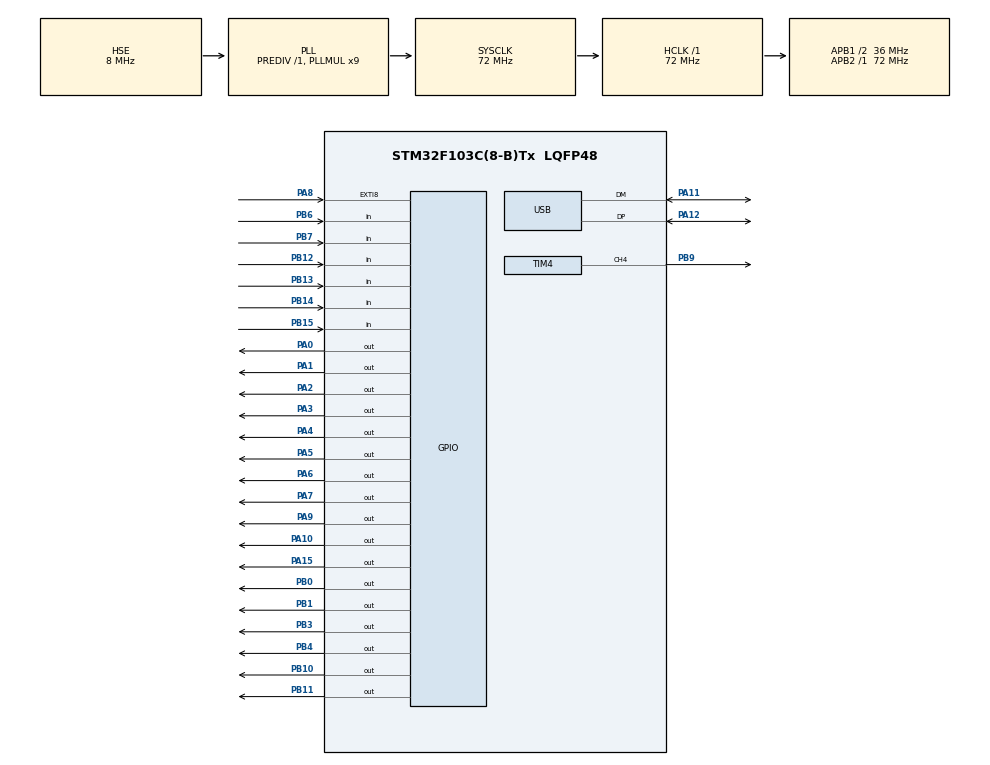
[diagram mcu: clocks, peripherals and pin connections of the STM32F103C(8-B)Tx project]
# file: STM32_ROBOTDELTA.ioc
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Mcu.Family=STM32F1
Mcu.Name=STM32F103C(8-B)Tx
Mcu.Package=LQFP48
NVIC.EXTI9_5_IRQn=true\:2\:0\:true\:false\:true\:true\:true\:true
NVIC.PriorityGroup=NVIC_PRIORITYGROUP_4
NVIC.TIM2_IRQn=true\:3\:0\:true\:false\:true\:true\:true\:true
NVIC.TIM3_IRQn=true\:4\:0\:true\:false\:true\:true\:true\:true
NVIC.USB_LP_CAN1_RX0_IRQn=true\:5\:0\:true\:false\:true\:false\:true\:true
PA0-WKUP.Signal=GPIO_Output
PA1.Signal=GPIO_Output
PA10.PinState=GPIO_PIN_SET
PA10.Signal=GPIO_Output
PA11.Mode=Device
PA11.Signal=USB_DM
PA12.Mode=Device
PA12.Signal=USB_DP
PA13.Mode=Serial_Wire
PA13.Signal=SYS_JTMS-SWDIO
PA14.Mode=Serial_Wire
PA14.Signal=SYS_JTCK-SWCLK
PA15.PinState=GPIO_PIN_SET
PA15.Signal=GPIO_Output
PA2.PinState=GPIO_PIN_SET
PA2.Signal=GPIO_Output
PA3.Signal=GPIO_Output
PA4.PinState=GPIO_PIN_SET
PA4.Signal=GPIO_Output
PA5.Signal=GPIO_Output
PA6.PinState=GPIO_PIN_SET
PA6.Signal=GPIO_Output
PA7.Signal=GPIO_Output
PA8.GPIO_PuPd=GPIO_PULLUP
PA8.Signal=GPXTI8
PA9.PinState=GPIO_PIN_SET
PA9.Signal=GPIO_Output
PB0.Signal=GPIO_Output
PB1.Signal=GPIO_Output
PB10.Signal=GPIO_Output
PB11.PinState=GPIO_PIN_SET
PB11.Signal=GPIO_Output
PB12.GPIO_PuPd=GPIO_PULLUP
PB12.Signal=GPIO_Input
PB13.GPIO_PuPd=GPIO_PULLUP
PB13.Signal=GPIO_Input
PB14.GPIO_PuPd=GPIO_PULLUP
PB14.Signal=GPIO_Input
PB15.GPIO_PuPd=GPIO_PULLDOWN
PB15.Signal=GPIO_Input
PB3.PinState=GPIO_PIN_SET
PB3.Signal=GPIO_Output
PB4.PinState=GPIO_PIN_SET
PB4.Signal=GPIO_Output
PB6.GPIO_PuPd=GPIO_PULLDOWN
PB6.Signal=GPIO_Input
PB7.GPIO_PuPd=GPIO_PULLDOWN
PB7.Signal=GPIO_Input
PB9.Signal=S_TIM4_CH4
PD0-OSC_IN.Mode=HSE-External-Oscillator
PD0-OSC_IN.Signal=RCC_OSC_IN
PD1-OSC_OUT.Mode=HSE-External-Oscillator
PD1-OSC_OUT.Signal=RCC_OSC_OUT
ProjectManager.HeapSize=0x200
ProjectManager.StackSize=0x400
ProjectManager.TargetToolchain=CMake
RCC.AHBFreq_Value=72000000
RCC.APB1CLKDivider=RCC_HCLK_DIV2
RCC.APB1Freq_Value=36000000
RCC.APB1TimFreq_Value=72000000
RCC.APB2Freq_Value=72000000
RCC.APB2TimFreq_Value=72000000
RCC.HCLKFreq_Value=72000000
RCC.PLLMUL=RCC_PLL_MUL9
RCC.PLLSourceVirtual=RCC_PLLSOURCE_HSE
RCC.SYSCLKFreq_VALUE=72000000
RCC.SYSCLKSource=RCC_SYSCLKSOURCE_PLLCLK
RCC.USBFreq_Value=48000000
RCC.USBPrescaler=RCC_USBCLKSOURCE_PLL_DIV1_5
SH.S_TIM4_CH4.0=TIM4_CH4,PWM Generation4 CH4
TIM2.Period=99
TIM2.Prescaler=71
TIM3.Period=99
TIM3.Prescaler=71
TIM4.Channel-PWM\ Generation4\ CH4=TIM_CHANNEL_4
TIM4.Period=19999
TIM4.Prescaler=71
TIM4.Pulse-PWM\ Generation4\ CH4=1500
USB_DEVICE.CLASS_NAME_FS=CDC
USB_DEVICE.VirtualMode=Cdc
USB_DEVICE.VirtualModeFS=Cdc_FS
VP_TIM2_VS_ClockSourceINT.Mode=Internal
VP_TIM3_VS_ClockSourceINT.Mode=Internal
VP_TIM4_VS_ClockSourceINT.Mode=Internal
VP_USB_DEVICE_VS_USB_DEVICE_CDC_FS.Mode=CDC_FS
board=custom

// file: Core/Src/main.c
/* USER CODE BEGIN Header */
/**
  ******************************************************************************
  * @file           : main.c
  * @brief          : Main program body
  ******************************************************************************
  * @attention
  *
  * Copyright (c) 2025 STMicroelectronics.
  * All rights reserved.
  *
  * This software is licensed under terms that can be found in the LICENSE file
  * in the root directory of this software component.
  * If no LICENSE file comes with this software, it is provided AS-IS.
  *
  ******************************************************************************
  */
/* USER CODE END Header */
#include "main.h"
#include "usb_device.h"

/* USER CODE BEGIN Includes */
#include "cdc_handler.h"
#include "command_queue.h"
#include "robot_control.h"
#include "conveyor.h"
#include "status_led.h"
#include "command_parser.h"
#include "button_handler.h"
#include "stm32f1xx_hal.h"
#include <stdbool.h>
#include <stdint.h>
/* USER CODE END Includes */

TIM_HandleTypeDef htim2;
TIM_HandleTypeDef htim3;
TIM_HandleTypeDef htim4;

void SystemClock_Config(void);
static void MX_GPIO_Init(void);
static void MX_TIM2_Init(void);
static void MX_TIM3_Init(void);
static void MX_TIM4_Init(void);

/* USER CODE BEGIN 0 */
static char main_command_buffer[RX_BUFFER_SIZE]; // NOLINT
/* USER CODE END 0 */

int main(void)
{

  /* MCU Configuration--------------------------------------------------------*/

  /* Reset of all peripherals, Initializes the Flash interface and the Systick. */
  HAL_Init();

  /* Configure the system clock */
  SystemClock_Config();

  /* Initialize all configured peripherals */
  MX_GPIO_Init();
  MX_TIM2_Init();
  MX_TIM3_Init();
  MX_TIM4_Init();
  MX_USB_DEVICE_Init();
  /* USER CODE BEGIN 2 */
  // Khởi tạo tất cả các module phần mềm
  status_led_init();
  cdc_handler_init();
  queue_init();
  robot_init();
  conveyor_init();
  button_handler_init();  // Khởi tạo module xử lý nút bấm và debounce

  // Đợi một chút để USB CDC ổn định
  HAL_Delay(100);

  // Gửi thông báo hệ thống đã sẵn sàng
  cdc_handler_send_response("SYS_READY");
  /* USER CODE END 2 */

  /* Infinite loop */
  while (1)
  {

    /* USER CODE BEGIN 3 */
	// Xử lý lệnh từ USB (NON-BLOCKING)
    // Kiểm tra xem cdc_handler có lệnh mới không
    if (cdc_handler_get_command(main_command_buffer, RX_BUFFER_SIZE))
    {
        // Nếu có, thực thi lệnh trong main loop (an toàn!)
        parse_command(main_command_buffer);
    }

    // Xử lý hàng đợi lệnh: kiểm tra và gửi lệnh cho robot nếu rảnh
    queue_process();

    // Xử lý các thông báo DONE từ hàng đợi (do ISR đẩy vào)
    queue_handle_done_messages();

    // Cập nhật trạng thái nút bấm và E-Stop (có debounce)
    button_handler_update();

    // Nếu E-Stop vừa thay đổi (được phát hiện bên trong button_handler_update),
    // ta nên gửi status ngay. Tuy nhiên button_handler_update gọi callback robot_estop_triggered.
    // Để đơn giản, ta kiểm tra cạnh ở đây.
    static bool last_estop_val = false;
    bool current_estop_val = estop_is_triggered();
    if (current_estop_val != last_estop_val) {
        last_estop_val = current_estop_val;
        send_status_report(); // Gửi status ngay khi E-Stop đổi trạng thái
    }

    // --- Xử lý sự kiện nút bấm ---
    if (button_just_pressed(BUTTON_1) || button_just_pressed(BUTTON_2)) {
        send_status_report(); // Gửi trạng thái đầy đủ ngay khi nhấn nút
    }

    // --- Giám sát cảm biến khay (Tray Sensor) ---
    static int last_tray_state = -1;
    // [FIX] Cảm biến khay dùng PULLDOWN: Có khay = VCC (SET) = 1, Mất khay = GND (RESET) = 0
    int current_tray_state = (HAL_GPIO_ReadPin(GPIOB, GPIO_PIN_15) == GPIO_PIN_SET) ? 1 : 0;

    if (last_tray_state == -1) {
        last_tray_state = current_tray_state;
    }
    else if (current_tray_state != last_tray_state) {
        HAL_Delay(20);
        int confirm_state = (HAL_GPIO_ReadPin(GPIOB, GPIO_PIN_15) == GPIO_PIN_RESET) ? 1 : 0;
        if (confirm_state == current_tray_state) {
            last_tray_state = current_tray_state;
            send_status_report(); // Gửi trạng thái đầy đủ khi cảm biến khay thay đổi
        }
    }

    // Cập nhật trạng thái homing (gọi mỗi vòng lặp)
    robot_update_homing_state();

    // ✅ Kiểm tra Servo Idle để ngắt xung (Auto-Detach)
    robot_poll_servo_idle();

    // ✅ Clear flags để tránh memory leak (không log nhưng vẫn clear)
    for (int i = 0; i < 3; i++) {
        robot_get_and_clear_flag_homing_ls_trig(i);
    }

    // ✅ Tự động cập nhật LED status dựa trên trạng thái robot & E-STOP
    robot_update_status_leds();

    // Cập nhật LED trạng thái (gọi mỗi vòng lặp để nhấp nháy được smooth)
    status_led_update();

    // --- Xử lý Homing Watchdog và các cờ báo hiệu từ ISR ---

    // Watchdog cho Homing (chỉ kiểm tra khi đang homing)
    if (robot_get_state() == ROBOT_STATE_HOMING && robot_get_homing_state() == HOMING_STATE_RAISING)
    {
        if ((HAL_GetTick() - robot_get_homing_start_tick()) > HOMING_WATCHDOG_MS)
        {
            robot_abort(); // Dừng robot
            cdc_handler_send_response("ERROR:Homing timed out");
        }
    }

    // Các cờ khác
    if (robot_get_and_clear_flag_homing_timeout_backing_off()) cdc_handler_send_response("ERROR:HOMING_TIMEOUT_BACKING_OFF");
    if (robot_get_and_clear_flag_homing_done()) cdc_handler_send_response("HOME_DONE");

    int misconfig_motor;
    if (robot_get_and_clear_flag_homing_dir_misconfig(&misconfig_motor)) {
        cdc_handler_send_response("ERROR:HOMING_DIR_MISCONFIG on motor %d", misconfig_motor);
    }

    // 🚨 SAFETY: Kiểm tra limit switch bị kẹt/hỏng
    for (int i = 0; i < 3; i++) {
        if (robot_get_and_clear_flag_ls_stuck(i)) {
            cdc_handler_send_response("ERROR:LIMIT_SWITCH_STUCK:M%d (backoff >2000 steps, sensor may be broken)", i + 1);
            robot_abort(); // Dừng khẩn cấp
        }
    }

        for (int i = 0; i < 3; i++) {

            if (robot_get_and_clear_flag_up_blocked(i)) {

                // 🚨 XỬ LÝ SỰ CỐ: Chạm công tắc hành trình bất ngờ

                cdc_handler_send_response("ERROR:CRITICAL:Motor %d hit limit switch during move! (Lost steps/Position mismatch)", i + 1);

                // Dừng robot và reset trạng thái

                robot_abort();

                // Xóa hàng đợi lệnh (vì các lệnh tiếp theo sẽ sai tọa độ)

                queue_flush();

                // Báo cho PC biết cần phải Homing lại

                cdc_handler_send_response("ERROR:REQUIRE_HOMING");

            }

        }
  }
  /* USER CODE END 3 */
}

void SystemClock_Config(void)
{
  RCC_OscInitTypeDef RCC_OscInitStruct = {0};
  RCC_ClkInitTypeDef RCC_ClkInitStruct = {0};
  RCC_PeriphCLKInitTypeDef PeriphClkInit = {0};

  /** Initializes the RCC Oscillators according to the specified parameters
  * in the RCC_OscInitTypeDef structure.
  */
  RCC_OscInitStruct.OscillatorType = RCC_OSCILLATORTYPE_HSE;
  RCC_OscInitStruct.HSEState = RCC_HSE_ON;
  RCC_OscInitStruct.HSEPredivValue = RCC_HSE_PREDIV_DIV1;
  RCC_OscInitStruct.HSIState = RCC_HSI_ON;
  RCC_OscInitStruct.PLL.PLLState = RCC_PLL_ON;
  RCC_OscInitStruct.PLL.PLLSource = RCC_PLLSOURCE_HSE;
  RCC_OscInitStruct.PLL.PLLMUL = RCC_PLL_MUL9;
  if (HAL_RCC_OscConfig(&RCC_OscInitStruct) != HAL_OK)
  {
    Error_Handler();
  }

  /** Initializes the CPU, AHB and APB buses clocks
  */
  RCC_ClkInitStruct.ClockType = RCC_CLOCKTYPE_HCLK|RCC_CLOCKTYPE_SYSCLK
                              |RCC_CLOCKTYPE_PCLK1|RCC_CLOCKTYPE_PCLK2;
  RCC_ClkInitStruct.SYSCLKSource = RCC_SYSCLKSOURCE_PLLCLK;
  RCC_ClkInitStruct.AHBCLKDivider = RCC_SYSCLK_DIV1;
  RCC_ClkInitStruct.APB1CLKDivider = RCC_HCLK_DIV2;
  RCC_ClkInitStruct.APB2CLKDivider = RCC_HCLK_DIV1;

  if (HAL_RCC_ClockConfig(&RCC_ClkInitStruct, FLASH_LATENCY_2) != HAL_OK)
  {
    Error_Handler();
  }
  PeriphClkInit.PeriphClockSelection = RCC_PERIPHCLK_USB;
  PeriphClkInit.UsbClockSelection = RCC_USBCLKSOURCE_PLL_DIV1_5;
  if (HAL_RCCEx_PeriphCLKConfig(&PeriphClkInit) != HAL_OK)
  {
    Error_Handler();
  }
}

static void MX_TIM2_Init(void)
{

  TIM_ClockConfigTypeDef sClockSourceConfig = {0};
  TIM_MasterConfigTypeDef sMasterConfig = {0};

  htim2.Instance = TIM2;
  htim2.Init.Prescaler = 71;
  htim2.Init.CounterMode = TIM_COUNTERMODE_UP;
  htim2.Init.Period = 99;
  htim2.Init.ClockDivision = TIM_CLOCKDIVISION_DIV1;
  htim2.Init.AutoReloadPreload = TIM_AUTORELOAD_PRELOAD_DISABLE;
  if (HAL_TIM_Base_Init(&htim2) != HAL_OK)
  {
    Error_Handler();
  }
  sClockSourceConfig.ClockSource = TIM_CLOCKSOURCE_INTERNAL;
  if (HAL_TIM_ConfigClockSource(&htim2, &sClockSourceConfig) != HAL_OK)
  {
    Error_Handler();
  }
  sMasterConfig.MasterOutputTrigger = TIM_TRGO_RESET;
  sMasterConfig.MasterSlaveMode = TIM_MASTERSLAVEMODE_DISABLE;
  if (HAL_TIMEx_MasterConfigSynchronization(&htim2, &sMasterConfig) != HAL_OK)
  {
    Error_Handler();
  }
  /* USER CODE BEGIN TIM2_Init 2 */
  // ✅ FIX: Cấu hình GPIO cho TIM2_CH1 (PA0) để xuất PWM cho băng tải
  HAL_TIM_MspPostInit(&htim2);
  // Cấu hình channel PWM sẽ được thực hiện trong conveyor_init
  // sMasterConfig và HAL_TIMEx_MasterConfigSynchronization đã được chuyển vào conveyor_init
  /* USER CODE END TIM2_Init 2 */

}

static void MX_TIM3_Init(void)
{

  TIM_ClockConfigTypeDef sClockSourceConfig = {0};
  TIM_MasterConfigTypeDef sMasterConfig = {0};

  /* USER CODE BEGIN TIM3_Init 1 */
  // Việc khởi tạo chi tiết timer này (prescaler, period, interrupt callback)
  // đã được chuyển vào hàm robot_init() trong file robot_control.c
  // để tránh bị CubeMX ghi đè.
  // Hàm này được giữ lại ở đây để duy trì cấu trúc dự án của CubeMX.
  /* USER CODE END TIM3_Init 1 */
  htim3.Instance = TIM3;
  htim3.Init.Prescaler = 71;
  htim3.Init.CounterMode = TIM_COUNTERMODE_UP;
  htim3.Init.Period = 99;
  htim3.Init.ClockDivision = TIM_CLOCKDIVISION_DIV1;
  htim3.Init.AutoReloadPreload = TIM_AUTORELOAD_PRELOAD_DISABLE;
  if (HAL_TIM_Base_Init(&htim3) != HAL_OK)
  {
    Error_Handler();
  }
  sClockSourceConfig.ClockSource = TIM_CLOCKSOURCE_INTERNAL;
  if (HAL_TIM_ConfigClockSource(&htim3, &sClockSourceConfig) != HAL_OK)
  {
    Error_Handler();
  }
  sMasterConfig.MasterOutputTrigger = TIM_TRGO_RESET;
  sMasterConfig.MasterSlaveMode = TIM_MASTERSLAVEMODE_DISABLE;
  if (HAL_TIMEx_MasterConfigSynchronization(&htim3, &sMasterConfig) != HAL_OK)
  {
    Error_Handler();
  }

}

static void MX_TIM4_Init(void)
{

  TIM_ClockConfigTypeDef sClockSourceConfig = {0};
  TIM_MasterConfigTypeDef sMasterConfig = {0};
  TIM_OC_InitTypeDef sConfigOC = {0};

  /* USER CODE BEGIN TIM4_Init 1 */
  // Việc khởi tạo chi tiết timer này cho Servo (PWM)
  // đã được chuyển vào hàm robot_init() trong file robot_control.c
  // để tránh bị CubeMX ghi đè.
  /* USER CODE END TIM4_Init 1 */
  htim4.Instance = TIM4;
  htim4.Init.Prescaler = 71;
  htim4.Init.CounterMode = TIM_COUNTERMODE_UP;
  htim4.Init.Period = 19999;
  htim4.Init.ClockDivision = TIM_CLOCKDIVISION_DIV1;
  htim4.Init.AutoReloadPreload = TIM_AUTORELOAD_PRELOAD_DISABLE;
  if (HAL_TIM_Base_Init(&htim4) != HAL_OK)
  {
    Error_Handler();
  }
  sClockSourceConfig.ClockSource = TIM_CLOCKSOURCE_INTERNAL;
  if (HAL_TIM_ConfigClockSource(&htim4, &sClockSourceConfig) != HAL_OK)
  {
    Error_Handler();
  }
  if (HAL_TIM_PWM_Init(&htim4) != HAL_OK)
  {
    Error_Handler();
  }
  sMasterConfig.MasterOutputTrigger = TIM_TRGO_RESET;
  sMasterConfig.MasterSlaveMode = TIM_MASTERSLAVEMODE_DISABLE;
  if (HAL_TIMEx_MasterConfigSynchronization(&htim4, &sMasterConfig) != HAL_OK)
  {
    Error_Handler();
  }
  sConfigOC.OCMode = TIM_OCMODE_PWM1;
  sConfigOC.Pulse = 1500;
  sConfigOC.OCPolarity = TIM_OCPOLARITY_HIGH;
  sConfigOC.OCFastMode = TIM_OCFAST_DISABLE;
  if (HAL_TIM_PWM_ConfigChannel(&htim4, &sConfigOC, TIM_CHANNEL_4) != HAL_OK)
  {
    Error_Handler();
  }
  HAL_TIM_MspPostInit(&htim4);

}

static void MX_GPIO_Init(void)
{
  GPIO_InitTypeDef GPIO_InitStruct = {0};

  /* GPIO Ports Clock Enable */
  __HAL_RCC_GPIOD_CLK_ENABLE();
  __HAL_RCC_GPIOA_CLK_ENABLE();
  __HAL_RCC_GPIOB_CLK_ENABLE();

  /*Configure GPIO pin Output Level */
  HAL_GPIO_WritePin(GPIOA, GPIO_PIN_0|GPIO_PIN_1|GPIO_PIN_3|GPIO_PIN_5
                          |GPIO_PIN_7|GPIO_PIN_9, GPIO_PIN_RESET);  // ✅ PA9 (PUMP) = 0V = TẮT

  /*Configure GPIO pin Output Level */
  HAL_GPIO_WritePin(GPIOA, GPIO_PIN_2|GPIO_PIN_4|GPIO_PIN_6
                          |GPIO_PIN_10|GPIO_PIN_15, GPIO_PIN_SET);

  /*Configure GPIO pin Output Level */
  HAL_GPIO_WritePin(GPIOB, GPIO_PIN_0|GPIO_PIN_1|GPIO_PIN_10, GPIO_PIN_RESET);

  /*Configure GPIO pin Output Level */
  HAL_GPIO_WritePin(GPIOB, GPIO_PIN_11|GPIO_PIN_3, GPIO_PIN_SET);

  /*Configure GPIO pin Output Level */
  HAL_GPIO_WritePin(CAMERA_LIGHT_GPIO_Port, CAMERA_LIGHT_Pin, GPIO_PIN_RESET);  // Đèn trợ sáng BẬT khi khởi động (Relay thường đóng: LOW = đóng relay = bật đèn)

  /*Configure GPIO pins : PA0 PA1 PA2 PA3
                           PA4 PA5 PA6 PA7
                           PA9 PA10 PA15 */
  GPIO_InitStruct.Pin = GPIO_PIN_0|GPIO_PIN_1|GPIO_PIN_2|GPIO_PIN_3
                          |GPIO_PIN_4|GPIO_PIN_5|GPIO_PIN_6|GPIO_PIN_7
                          |GPIO_PIN_9|GPIO_PIN_10|GPIO_PIN_15;
  GPIO_InitStruct.Mode = GPIO_MODE_OUTPUT_PP;
  GPIO_InitStruct.Pull = GPIO_NOPULL;
  GPIO_InitStruct.Speed = GPIO_SPEED_FREQ_LOW;
  HAL_GPIO_Init(GPIOA, &GPIO_InitStruct);

  /*Configure GPIO pins : PB0 PB1 PB10 PB11
                           PB3 PB4 */
  GPIO_InitStruct.Pin = GPIO_PIN_0|GPIO_PIN_1|GPIO_PIN_10|GPIO_PIN_11
                          |GPIO_PIN_3|GPIO_PIN_4;
  GPIO_InitStruct.Mode = GPIO_MODE_OUTPUT_PP;
  GPIO_InitStruct.Pull = GPIO_NOPULL;
  GPIO_InitStruct.Speed = GPIO_SPEED_FREQ_LOW;
  HAL_GPIO_Init(GPIOB, &GPIO_InitStruct);

  /*Configure GPIO pins : PB12 PB13 PB14 (Reserved - NC with PULLUP) */
  GPIO_InitStruct.Pin = GPIO_PIN_12|GPIO_PIN_13|GPIO_PIN_14;
  GPIO_InitStruct.Mode = GPIO_MODE_INPUT;
  GPIO_InitStruct.Pull = GPIO_PULLUP;
  HAL_GPIO_Init(GPIOB, &GPIO_InitStruct);

  /*Configure GPIO pins : PB15 (Conveyor Sensor - NO with PULLDOWN) */
  GPIO_InitStruct.Pin = GPIO_PIN_15;
  GPIO_InitStruct.Mode = GPIO_MODE_INPUT;
  GPIO_InitStruct.Pull = GPIO_PULLDOWN;
  HAL_GPIO_Init(GPIOB, &GPIO_InitStruct);

  /*Configure GPIO pins : PB6, PB7 (START and STOP buttons - NO with VCC) */
  /* Logic: Pressed = 1 (VCC), Released = 0 (Internal PULLDOWN) */
  GPIO_InitStruct.Pin = GPIO_PIN_6|GPIO_PIN_7;
  GPIO_InitStruct.Mode = GPIO_MODE_INPUT;
  GPIO_InitStruct.Pull = GPIO_PULLDOWN;
  HAL_GPIO_Init(GPIOB, &GPIO_InitStruct);

  /*Configure GPIO pin : PA8 (E-Stop - NC with PULLUP, interrupt on RISING_FALLING edge) */
  GPIO_InitStruct.Pin = GPIO_PIN_8;
  GPIO_InitStruct.Mode = GPIO_MODE_IT_RISING_FALLING;
  GPIO_InitStruct.Pull = GPIO_PULLUP;
  HAL_GPIO_Init(GPIOA, &GPIO_InitStruct);

  /* EXTI interrupt init*/
  HAL_NVIC_SetPriority(EXTI9_5_IRQn, 2, 0);
  HAL_NVIC_EnableIRQ(EXTI9_5_IRQn);

  /* USER CODE BEGIN MX_GPIO_Init_2 */
  // Các cấu hình GPIO khác như công tắc hành trình, nút nhấn...
  // nên được thực hiện trong các module tương ứng (ví dụ: robot_init)
  // để đảm bảo tính đóng gói và dễ quản lý.

  /* USER CODE END MX_GPIO_Init_2 */
}

/* USER CODE BEGIN 4 */

/**
 * @brief GPIO EXTI Callback - Xử lý ngắt E-Stop
 * @param GPIO_Pin: Pin gây ra ngắt
 * @note: Đã chuyển sang xử lý debounce trong button_handler_update()
 *        Ngắt này chỉ để phản ứng nhanh, logic thực sự xử lý ở polling
 */
void HAL_GPIO_EXTI_Callback(uint16_t GPIO_Pin)
{
    // ✅ FIX: Vô hiệu hóa xử lý trong ngắt để tránh nhiễu động cơ kích hoạt E-Stop giả.
    // Việc xử lý E-Stop đã được đảm nhiệm an toàn bởi button_handler_update() với debounce 10ms.
    /*
    if (GPIO_Pin == GPIO_PIN_8) // E_STOP_Pin (PA8)
    {
        if (HAL_GPIO_ReadPin(GPIOA, GPIO_PIN_8) == GPIO_PIN_SET)
        {
            robot_estop_triggered();
            send_status_report();
        }
    }
    */
    (void)GPIO_Pin;
}

/* USER CODE END 4 */

void Error_Handler(void)
{
  __disable_irq();
  while (1)
  {
  }
}
